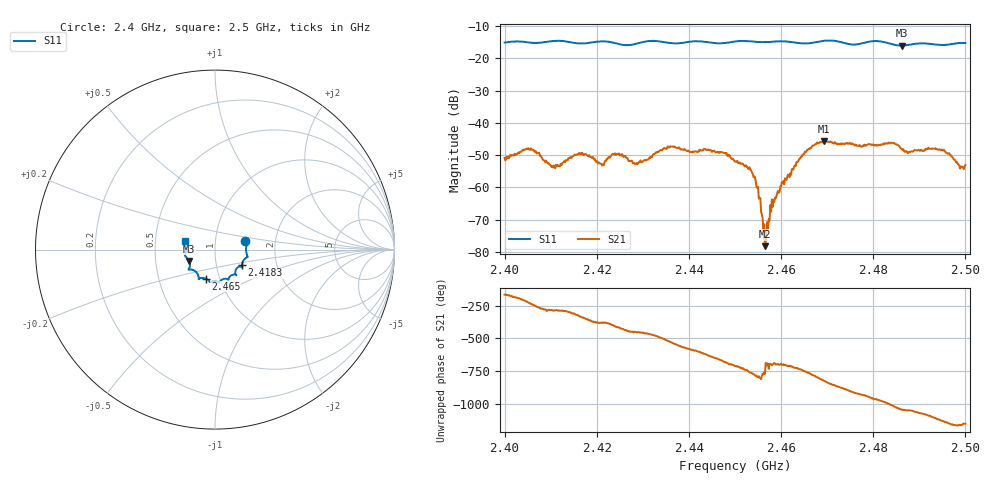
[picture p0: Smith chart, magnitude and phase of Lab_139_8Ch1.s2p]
# Hz S RI R 50
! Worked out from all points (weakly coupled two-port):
!   601 points, 2.4 GHz to 2.5 GHz, reference 50 ohm
!   highest |S21| = -45.65 dB at 2.4693 GHz (marker M1); lowest = -78.2 dB at 2.4565 GHz (marker M2)
!   lowest |S11| = -16.1 dB at 2.4862 GHz (marker M3), VSWR 1.37, Z = 37.2 - j4.82 ohm
!   |S11| at or under -10 dB: start of sweep to end of sweep
!   S12 and S22 are empty: the file has one direction only
!   S11 on the Smith chart (normalised r, x): 2.4 GHz: 1.40, +0.14; 2.4183 GHz: 1.33, -0.24; 2.465 GHz: 0.86, -0.28; 2.5 GHz: 0.71, +0.07
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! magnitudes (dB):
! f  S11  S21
! 2.4 GHz  -15.1  -50.9
! 2.4057 GHz  -15.2  -47.9
! 2.4105 GHz  -14.7  -53.8
! 2.4167 GHz  -15.4  -49.6
! 2.4183 GHz  -15.2  -50.0
! 2.4212 GHz  -14.8  -53.2
! 2.425 GHz  -15.7  -50.1
! 2.4285 GHz  -15.5  -52.7
! 2.4333 GHz  -14.7  -49.1
! 2.4438 GHz  -15.0  -48.3
! 2.45 GHz  -14.8  -51.9
! 2.454 GHz  -14.8  -56.7
! 2.455 GHz  -14.9  -59.8
! 2.4565 GHz  -15.0  -78.2
! 2.4597 GHz  -14.7  -61.4
! 2.465 GHz  -15.4  -49.7
! 2.4667 GHz  -15.2  -47.3
! 2.4693 GHz  -14.6  -45.6
! 2.4833 GHz  -15.3  -46.1
! 2.4862 GHz  -16.1  -48.1
! 2.4948 GHz  -15.9  -48.2
! 2.5 GHz  -15.2  -53.1
